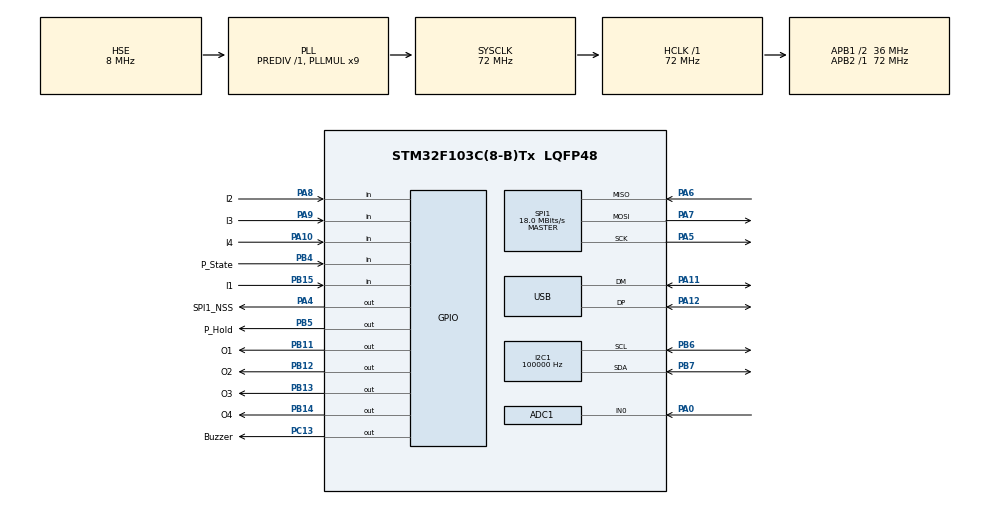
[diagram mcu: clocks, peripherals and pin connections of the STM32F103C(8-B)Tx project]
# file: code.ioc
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ADC1.Channel-4\#ChannelRegularConversion=ADC_CHANNEL_0
ADC1.ContinuousConvMode=ENABLE
ADC1.DMAAccessMode_ADC1-ADCs_Common_Settings=ADC_DMAACCESSMODE_DISABLED
ADC1.NbrOfConversion=1
ADC1.NbrOfConversionFlag=1
ADC1.Rank-4\#ChannelRegularConversion=1
ADC1.SamplingTime-4\#ChannelRegularConversion=ADC_SAMPLETIME_239CYCLES_5
ADC1.master=1
Dma.ADC1.0.Direction=DMA_PERIPH_TO_MEMORY
Dma.ADC1.0.Instance=DMA1_Channel1
Dma.ADC1.0.MemDataAlignment=DMA_MDATAALIGN_HALFWORD
Dma.ADC1.0.MemInc=DMA_MINC_ENABLE
Dma.ADC1.0.Mode=DMA_CIRCULAR
Dma.ADC1.0.PeriphDataAlignment=DMA_PDATAALIGN_HALFWORD
Dma.ADC1.0.PeriphInc=DMA_PINC_DISABLE
Dma.ADC1.0.Priority=DMA_PRIORITY_LOW
Dma.Request0=ADC1
FATFS._CODE_PAGE=936
FATFS._FS_TINY=1
FATFS._MAX_LFN=30
FATFS._MAX_SS=4096
FATFS._MIN_SS=4096
FATFS._USE_LFN=0
I2C1.ClockSpeed=100000
I2C1.I2C_Mode=I2C_Standard
Mcu.Family=STM32F1
Mcu.Name=STM32F103C(8-B)Tx
Mcu.Package=LQFP48
NVIC.DMA1_Channel1_IRQn=true\:2\:0\:true\:false\:true\:false\:true\:true
NVIC.PriorityGroup=NVIC_PRIORITYGROUP_2
NVIC.USB_LP_CAN1_RX0_IRQn=true\:1\:0\:true\:false\:true\:false\:true\:true
PA0-WKUP.Signal=ADCx_IN0
PA10.GPIO_Label=I4
PA10.GPIO_PuPd=GPIO_PULLUP
PA10.Signal=GPIO_Input
PA11.Mode=Device
PA11.Signal=USB_DM
PA12.Mode=Device
PA12.Signal=USB_DP
PA13.Mode=Serial_Wire
PA13.Signal=SYS_JTMS-SWDIO
PA14.Mode=Serial_Wire
PA14.Signal=SYS_JTCK-SWCLK
PA4.GPIO_Label=SPI1_NSS
PA4.PinState=GPIO_PIN_SET
PA4.Signal=GPIO_Output
PA5.Mode=Full_Duplex_Master
PA5.Signal=SPI1_SCK
PA6.Mode=Full_Duplex_Master
PA6.Signal=SPI1_MISO
PA7.Mode=Full_Duplex_Master
PA7.Signal=SPI1_MOSI
PA8.GPIO_Label=I2
PA8.GPIO_PuPd=GPIO_PULLUP
PA8.Signal=GPIO_Input
PA9.GPIO_Label=I3
PA9.GPIO_PuPd=GPIO_PULLUP
PA9.Signal=GPIO_Input
PB11.GPIO_Label=O1
PB11.Signal=GPIO_Output
PB12.GPIO_Label=O2
PB12.Signal=GPIO_Output
PB13.GPIO_Label=O3
PB13.Signal=GPIO_Output
PB14.GPIO_Label=O4
PB14.Signal=GPIO_Output
PB15.GPIO_Label=I1
PB15.GPIO_PuPd=GPIO_PULLUP
PB15.Signal=GPIO_Input
PB4.GPIO_Label=P_State
PB4.GPIO_PuPd=GPIO_PULLUP
PB4.Signal=GPIO_Input
PB5.GPIO_Label=P_Hold
PB5.PinState=GPIO_PIN_SET
PB5.Signal=GPIO_Output
PB6.Mode=I2C
PB6.Signal=I2C1_SCL
PB7.Mode=I2C
PB7.Signal=I2C1_SDA
PC13-TAMPER-RTC.GPIO_Label=Buzzer
PC13-TAMPER-RTC.Signal=GPIO_Output
PD0-OSC_IN.Mode=HSE-External-Oscillator
PD0-OSC_IN.Signal=RCC_OSC_IN
PD1-OSC_OUT.Mode=HSE-External-Oscillator
PD1-OSC_OUT.Signal=RCC_OSC_OUT
ProjectManager.HeapSize=0x1600
ProjectManager.StackSize=0x250
ProjectManager.TargetToolchain=MDK-ARM V5.32
RCC.ADCPresc=RCC_ADCPCLK2_DIV6
RCC.AHBFreq_Value=72000000
RCC.APB1CLKDivider=RCC_HCLK_DIV2
RCC.APB1Freq_Value=36000000
RCC.APB1TimFreq_Value=72000000
RCC.APB2Freq_Value=72000000
RCC.APB2TimFreq_Value=72000000
RCC.HCLKFreq_Value=72000000
RCC.PLLMUL=RCC_PLL_MUL9
RCC.PLLSourceVirtual=RCC_PLLSOURCE_HSE
RCC.SYSCLKFreq_VALUE=72000000
RCC.SYSCLKSource=RCC_SYSCLKSOURCE_PLLCLK
RCC.USBFreq_Value=48000000
RCC.USBPrescaler=RCC_USBCLKSOURCE_PLL_DIV1_5
SH.ADCx_IN0.0=ADC1_IN0,IN0
SPI1.BaudRatePrescaler=SPI_BAUDRATEPRESCALER_4
SPI1.CLKPhase=SPI_PHASE_1EDGE
SPI1.CLKPolarity=SPI_POLARITY_LOW
SPI1.CalculateBaudRate=18.0 MBits/s
SPI1.Direction=SPI_DIRECTION_2LINES
SPI1.Mode=SPI_MODE_MASTER
SPI1.VirtualType=VM_MASTER
USB_DEVICE.CLASS_NAME_FS=MSC
USB_DEVICE.MSC_MEDIA_PACKET=4096
USB_DEVICE.VirtualMode=Msc
USB_DEVICE.VirtualModeFS=Msc_FS
VP_FATFS_VS_Generic.Mode=User_defined
VP_USB_DEVICE_VS_USB_DEVICE_MSC_FS.Mode=MSC_FS
board=custom

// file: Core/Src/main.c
/* USER CODE BEGIN Header */
/**
 ******************************************************************************
 * @file           : main.c
 * @brief          : Main program body
 ******************************************************************************
 * @attention
 *
 * <h2><center>&copy; Copyright (c) 2022 STMicroelectronics.
 * All rights reserved.</center></h2>
 *
 * This software component is licensed by ST under Ultimate Liberty license
 * SLA0044, the "License"; You may not use this file except in compliance with
 * the License. You may obtain a copy of the License at:
 *                             www.st.com/SLA0044
 *
 ******************************************************************************
 */
/* USER CODE END Header */
#include "main.h"
#include "adc.h"
#include "dma.h"
#include "fatfs.h"
#include "i2c.h"
#include "spi.h"
#include "usb_device.h"
#include "gpio.h"

/* USER CODE BEGIN Includes */
#include "oled.h"
#include "W25QXX.h"
#include "gui.h"
#include "key.h"
/* USER CODE END Includes */

void SystemClock_Config(void);

/* USER CODE BEGIN 0 */
uint16_t time_count = 0;
/* USER CODE END 0 */

int main(void)
{

  /* MCU Configuration--------------------------------------------------------*/

  /* Reset of all peripherals, Initializes the Flash interface and the Systick. */
  HAL_Init();

  /* Configure the system clock */
  SystemClock_Config();

  /* USER CODE BEGIN SysInit */
  HAL_Delay(500);
  /* USER CODE END SysInit */

  /* Initialize all configured peripherals */
  MX_GPIO_Init();
  MX_I2C1_Init();
  MX_SPI1_Init();
  MX_DMA_Init();
  MX_ADC1_Init();
  MX_USB_DEVICE_Init();
  MX_FATFS_Init();
  /* USER CODE BEGIN 2 */
  beep();
  OLED_Init();
  OLED_Clear();
  W25QXX_Init();
  HAL_ADCEx_Calibration_Start(&hadc1); /* 启动AD转换并使能DMA传输和中断 */
  bsp_InitKeyVar();
  OLED_Clear();
	//W25QXX_Erase_Chip();
  mount_disk();
  /* USER CODE END 2 */

  /* Infinite loop */
  while (1)
  {

    /* USER CODE BEGIN 3 */
    if ((GPIOB->IDR & P_State_Pin) == 0)
    {
      HAL_Delay(1000);
      if ((GPIOB->IDR & P_State_Pin) == 0)
      {
        beep();
        HAL_GPIO_WritePin(P_Hold_GPIO_Port, P_Hold_Pin, GPIO_PIN_RESET);
      }
    }
     bsp_KeyScan();
     GUI_Refresh();
     power_check(&time_count);
  }
  /* USER CODE END 3 */
}

void SystemClock_Config(void)
{
  RCC_OscInitTypeDef RCC_OscInitStruct = {0};
  RCC_ClkInitTypeDef RCC_ClkInitStruct = {0};
  RCC_PeriphCLKInitTypeDef PeriphClkInit = {0};

  /** Initializes the RCC Oscillators according to the specified parameters
   * in the RCC_OscInitTypeDef structure.
   */
  RCC_OscInitStruct.OscillatorType = RCC_OSCILLATORTYPE_HSE;
  RCC_OscInitStruct.HSEState = RCC_HSE_ON;
  RCC_OscInitStruct.HSEPredivValue = RCC_HSE_PREDIV_DIV1;
  RCC_OscInitStruct.HSIState = RCC_HSI_ON;
  RCC_OscInitStruct.PLL.PLLState = RCC_PLL_ON;
  RCC_OscInitStruct.PLL.PLLSource = RCC_PLLSOURCE_HSE;
  RCC_OscInitStruct.PLL.PLLMUL = RCC_PLL_MUL9;
  if (HAL_RCC_OscConfig(&RCC_OscInitStruct) != HAL_OK)
  {
    Error_Handler();
  }

  /** Initializes the CPU, AHB and APB buses clocks
   */
  RCC_ClkInitStruct.ClockType = RCC_CLOCKTYPE_HCLK | RCC_CLOCKTYPE_SYSCLK | RCC_CLOCKTYPE_PCLK1 | RCC_CLOCKTYPE_PCLK2;
  RCC_ClkInitStruct.SYSCLKSource = RCC_SYSCLKSOURCE_PLLCLK;
  RCC_ClkInitStruct.AHBCLKDivider = RCC_SYSCLK_DIV1;
  RCC_ClkInitStruct.APB1CLKDivider = RCC_HCLK_DIV2;
  RCC_ClkInitStruct.APB2CLKDivider = RCC_HCLK_DIV1;

  if (HAL_RCC_ClockConfig(&RCC_ClkInitStruct, FLASH_LATENCY_2) != HAL_OK)
  {
    Error_Handler();
  }
  PeriphClkInit.PeriphClockSelection = RCC_PERIPHCLK_ADC | RCC_PERIPHCLK_USB;
  PeriphClkInit.AdcClockSelection = RCC_ADCPCLK2_DIV6;
  PeriphClkInit.UsbClockSelection = RCC_USBCLKSOURCE_PLL_DIV1_5;
  if (HAL_RCCEx_PeriphCLKConfig(&PeriphClkInit) != HAL_OK)
  {
    Error_Handler();
  }
}

/* USER CODE BEGIN 4 */
void HAL_SYSTICK_Callback(void)
{
  time_count++;
}
/* USER CODE END 4 */

void Error_Handler(void)
{
  __disable_irq();
  while (1)
  {
  }
}
